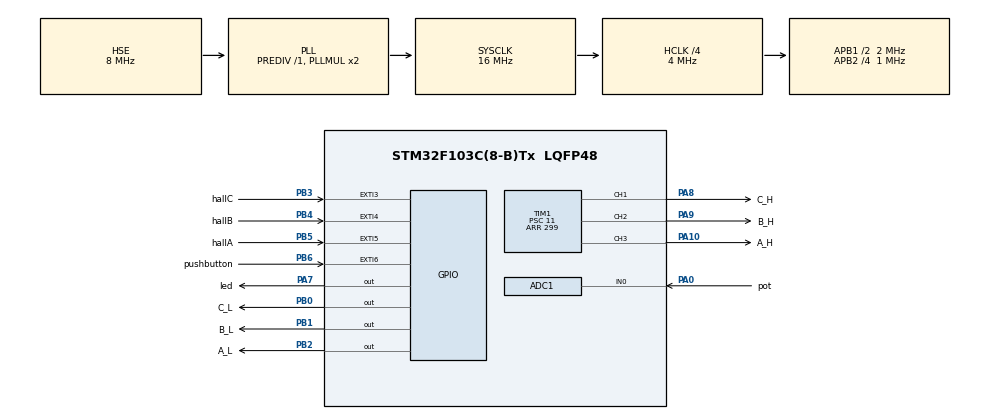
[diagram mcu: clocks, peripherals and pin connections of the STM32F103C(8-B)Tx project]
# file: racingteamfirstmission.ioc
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ADC1.Channel-10\#ChannelRegularConversion=ADC_CHANNEL_0
ADC1.ContinuousConvMode=ENABLE
ADC1.NbrOfConversionFlag=1
ADC1.Rank-10\#ChannelRegularConversion=1
ADC1.SamplingTime-10\#ChannelRegularConversion=ADC_SAMPLETIME_1CYCLE_5
ADC1.master=1
Mcu.Family=STM32F1
Mcu.Name=STM32F103C(8-B)Tx
Mcu.Package=LQFP48
NVIC.EXTI3_IRQn=true\:0\:0\:false\:false\:true\:true\:true\:true
NVIC.EXTI4_IRQn=true\:0\:0\:false\:false\:true\:true\:true\:true
NVIC.EXTI9_5_IRQn=true\:0\:0\:false\:false\:true\:true\:true\:true
NVIC.PriorityGroup=NVIC_PRIORITYGROUP_4
PA0-WKUP.GPIO_Label=pot
PA0-WKUP.Signal=ADCx_IN0
PA10.GPIO_Label=A_H
PA10.Signal=S_TIM1_CH3
PA13.Mode=Serial_Wire
PA13.Signal=SYS_JTMS-SWDIO
PA14.Mode=Serial_Wire
PA14.Signal=SYS_JTCK-SWCLK
PA7.GPIO_Label=led
PA7.Signal=GPIO_Output
PA8.GPIO_Label=C_H
PA8.Signal=S_TIM1_CH1
PA9.GPIO_Label=B_H
PA9.Signal=S_TIM1_CH2
PB0.GPIO_Label=C_L
PB0.GPIO_PuPd=GPIO_PULLDOWN
PB0.Signal=GPIO_Output
PB1.GPIO_Label=B_L
PB1.GPIO_PuPd=GPIO_PULLDOWN
PB1.Signal=GPIO_Output
PB2.GPIO_Label=A_L
PB2.GPIO_PuPd=GPIO_PULLDOWN
PB2.Signal=GPIO_Output
PB3.GPIO_Label=hallC
PB3.GPIO_PuPd=GPIO_PULLDOWN
PB3.Signal=GPXTI3
PB4.GPIO_Label=hallB
PB4.GPIO_PuPd=GPIO_PULLDOWN
PB4.Signal=GPXTI4
PB5.GPIO_Label=hallA
PB5.GPIO_PuPd=GPIO_PULLDOWN
PB5.Signal=GPXTI5
PB6.GPIO_Label=pushbutton
PB6.GPIO_PuPd=GPIO_PULLUP
PB6.Signal=GPXTI6
PD0-OSC_IN.Mode=HSE-External-Oscillator
PD0-OSC_IN.Signal=RCC_OSC_IN
PD1-OSC_OUT.Mode=HSE-External-Oscillator
PD1-OSC_OUT.Signal=RCC_OSC_OUT
ProjectManager.HeapSize=0x200
ProjectManager.StackSize=0x400
ProjectManager.TargetToolchain=STM32CubeIDE
RCC.AHBCLKDivider=RCC_SYSCLK_DIV4
RCC.AHBFreq_Value=4000000
RCC.APB1CLKDivider=RCC_HCLK_DIV2
RCC.APB1Freq_Value=2000000
RCC.APB1TimFreq_Value=4000000
RCC.APB2CLKDivider=RCC_HCLK_DIV4
RCC.APB2Freq_Value=1000000
RCC.APB2TimFreq_Value=2000000
RCC.HCLKFreq_Value=4000000
RCC.PLLSourceVirtual=RCC_PLLSOURCE_HSE
RCC.SYSCLKFreq_VALUE=16000000
RCC.SYSCLKSource=RCC_SYSCLKSOURCE_PLLCLK
RCC.USBFreq_Value=16000000
SH.ADCx_IN0.0=ADC1_IN0,IN0
SH.S_TIM1_CH1.0=TIM1_CH1,PWM Generation1 CH1
SH.S_TIM1_CH2.0=TIM1_CH2,PWM Generation2 CH2
SH.S_TIM1_CH3.0=TIM1_CH3,PWM Generation3 CH3
TIM1.Channel-PWM\ Generation1\ CH1=TIM_CHANNEL_1
TIM1.Channel-PWM\ Generation2\ CH2=TIM_CHANNEL_2
TIM1.Channel-PWM\ Generation3\ CH3=TIM_CHANNEL_3
TIM1.Period=299
TIM1.Prescaler=11
board=custom

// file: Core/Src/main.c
/* USER CODE BEGIN Header */
/**
  ******************************************************************************
  * @file           : main.c
  * @brief          : Main program body
  ******************************************************************************
  * @attention
  *
  * Copyright (c) 2024 STMicroelectronics.
  * All rights reserved.
  *
  * This software is licensed under terms that can be found in the LICENSE file
  * in the root directory of this software component.
  * If no LICENSE file comes with this software, it is provided AS-IS.
  *
  ******************************************************************************
  */
/* USER CODE END Header */
#include "main.h"

/* USER CODE BEGIN Includes */
#include <stdbool.h>
#include "bldc.h"

/* USER CODE END Includes */

 ADC_HandleTypeDef hadc1;

 TIM_HandleTypeDef htim1;

void SystemClock_Config(void);
static void MX_GPIO_Init(void);
static void MX_ADC1_Init(void);
static void MX_TIM1_Init(void);

/* USER CODE BEGIN 0 */

// Global Variables
int pwm_value;                        // Current PWM value
int pmw_low = 0;                      // Low PWM value for motor control
bool HALL_C = false;                  // State of Hall sensor C
bool HALL_B = false;                  // State of Hall sensor B
bool HALL_A = false;                  // State of Hall sensor A
uint32_t step = STEP_1;               // Current step for motor control
bool MODE = false;                    // Operating mode indicator
int rpm = 0;                          // Current RPM of the motor
bool rpm_ok = false;                  // RPM status flag
uint32_t adc_value;                   // ADC reading
uint32_t max_adc_value = MAX_ADC_VALUE; // Max value for a 12-bit ADC
uint32_t arr_value = PWM_MAX_VALUE - 1; // AutoReload Register (ARR) value for PWM
uint32_t duty_cycle_percentage;       // Duty cycle percentage for PWM control

// Interrupt Callback Function for External Interrupts
void HAL_GPIO_EXTI_Callback(uint16_t GPIO_Pin) {
	// Read Hall sensor states
	HALL_A = HAL_GPIO_ReadPin(hallA_GPIO_Port, hallA_Pin);
	HALL_B = HAL_GPIO_ReadPin(hallB_GPIO_Port, hallB_Pin);
	HALL_C = HAL_GPIO_ReadPin(hallC_GPIO_Port, hallC_Pin);

    /* Motor control based on Hall sensor inputs */
    control_bldc();

    // Check if the interrupt was triggered by the push button
	if(GPIO_Pin == pushbutton_Pin) // If The INT Source Is EXTI Line9 (B6 Pin)
	{
		  HAL_GPIO_TogglePin(GPIOA, led_Pin); // Toggle The Output (led) Pin
	}
}

/* USER CODE END 0 */

int main(void)
{

  /* MCU Configuration--------------------------------------------------------*/

  /* Reset of all peripherals, Initializes the Flash interface and the Systick. */
  HAL_Init();

  /* Configure the system clock */
  SystemClock_Config();

  /* Initialize all configured peripherals */
  MX_GPIO_Init();
  MX_ADC1_Init();
  MX_TIM1_Init();
  /* USER CODE BEGIN 2 */

  /* Start PWM  */
  HAL_TIM_PWM_Start(&htim1, TIM_CHANNEL_1);
  HAL_TIM_PWM_Start(&htim1, TIM_CHANNEL_2);
  HAL_TIM_PWM_Start(&htim1, TIM_CHANNEL_3);

  /* USER CODE END 2 */

  /* Infinite loop */
  while (1)
  {

    /* USER CODE BEGIN 3 */
	  adjust_pwm_with_pot();  // Adjust PWM based on potentiometer

  }
  /* USER CODE END 3 */
}

void SystemClock_Config(void)
{
  RCC_OscInitTypeDef RCC_OscInitStruct = {0};
  RCC_ClkInitTypeDef RCC_ClkInitStruct = {0};
  RCC_PeriphCLKInitTypeDef PeriphClkInit = {0};

  /** Initializes the RCC Oscillators according to the specified parameters
  * in the RCC_OscInitTypeDef structure.
  */
  RCC_OscInitStruct.OscillatorType = RCC_OSCILLATORTYPE_HSE;
  RCC_OscInitStruct.HSEState = RCC_HSE_ON;
  RCC_OscInitStruct.HSEPredivValue = RCC_HSE_PREDIV_DIV1;
  RCC_OscInitStruct.HSIState = RCC_HSI_ON;
  RCC_OscInitStruct.PLL.PLLState = RCC_PLL_ON;
  RCC_OscInitStruct.PLL.PLLSource = RCC_PLLSOURCE_HSE;
  RCC_OscInitStruct.PLL.PLLMUL = RCC_PLL_MUL2;
  if (HAL_RCC_OscConfig(&RCC_OscInitStruct) != HAL_OK)
  {
    Error_Handler();
  }

  /** Initializes the CPU, AHB and APB buses clocks
  */
  RCC_ClkInitStruct.ClockType = RCC_CLOCKTYPE_HCLK|RCC_CLOCKTYPE_SYSCLK
                              |RCC_CLOCKTYPE_PCLK1|RCC_CLOCKTYPE_PCLK2;
  RCC_ClkInitStruct.SYSCLKSource = RCC_SYSCLKSOURCE_PLLCLK;
  RCC_ClkInitStruct.AHBCLKDivider = RCC_SYSCLK_DIV4;
  RCC_ClkInitStruct.APB1CLKDivider = RCC_HCLK_DIV2;
  RCC_ClkInitStruct.APB2CLKDivider = RCC_HCLK_DIV4;

  if (HAL_RCC_ClockConfig(&RCC_ClkInitStruct, FLASH_LATENCY_0) != HAL_OK)
  {
    Error_Handler();
  }
  PeriphClkInit.PeriphClockSelection = RCC_PERIPHCLK_ADC;
  PeriphClkInit.AdcClockSelection = RCC_ADCPCLK2_DIV2;
  if (HAL_RCCEx_PeriphCLKConfig(&PeriphClkInit) != HAL_OK)
  {
    Error_Handler();
  }
}

static void MX_ADC1_Init(void)
{

  ADC_ChannelConfTypeDef sConfig = {0};

  /** Common config
  */
  hadc1.Instance = ADC1;
  hadc1.Init.ScanConvMode = ADC_SCAN_DISABLE;
  hadc1.Init.ContinuousConvMode = ENABLE;
  hadc1.Init.DiscontinuousConvMode = DISABLE;
  hadc1.Init.ExternalTrigConv = ADC_SOFTWARE_START;
  hadc1.Init.DataAlign = ADC_DATAALIGN_RIGHT;
  hadc1.Init.NbrOfConversion = 1;
  if (HAL_ADC_Init(&hadc1) != HAL_OK)
  {
    Error_Handler();
  }

  /** Configure Regular Channel
  */
  sConfig.Channel = ADC_CHANNEL_0;
  sConfig.Rank = ADC_REGULAR_RANK_1;
  sConfig.SamplingTime = ADC_SAMPLETIME_1CYCLE_5;
  if (HAL_ADC_ConfigChannel(&hadc1, &sConfig) != HAL_OK)
  {
    Error_Handler();
  }

}

static void MX_TIM1_Init(void)
{

  TIM_MasterConfigTypeDef sMasterConfig = {0};
  TIM_OC_InitTypeDef sConfigOC = {0};
  TIM_BreakDeadTimeConfigTypeDef sBreakDeadTimeConfig = {0};

  htim1.Instance = TIM1;
  htim1.Init.Prescaler = 11;
  htim1.Init.CounterMode = TIM_COUNTERMODE_UP;
  htim1.Init.Period = 299;
  htim1.Init.ClockDivision = TIM_CLOCKDIVISION_DIV1;
  htim1.Init.RepetitionCounter = 0;
  htim1.Init.AutoReloadPreload = TIM_AUTORELOAD_PRELOAD_DISABLE;
  if (HAL_TIM_PWM_Init(&htim1) != HAL_OK)
  {
    Error_Handler();
  }
  sMasterConfig.MasterOutputTrigger = TIM_TRGO_RESET;
  sMasterConfig.MasterSlaveMode = TIM_MASTERSLAVEMODE_DISABLE;
  if (HAL_TIMEx_MasterConfigSynchronization(&htim1, &sMasterConfig) != HAL_OK)
  {
    Error_Handler();
  }
  sConfigOC.OCMode = TIM_OCMODE_PWM1;
  sConfigOC.Pulse = 0;
  sConfigOC.OCPolarity = TIM_OCPOLARITY_HIGH;
  sConfigOC.OCNPolarity = TIM_OCNPOLARITY_HIGH;
  sConfigOC.OCFastMode = TIM_OCFAST_DISABLE;
  sConfigOC.OCIdleState = TIM_OCIDLESTATE_RESET;
  sConfigOC.OCNIdleState = TIM_OCNIDLESTATE_RESET;
  if (HAL_TIM_PWM_ConfigChannel(&htim1, &sConfigOC, TIM_CHANNEL_1) != HAL_OK)
  {
    Error_Handler();
  }
  if (HAL_TIM_PWM_ConfigChannel(&htim1, &sConfigOC, TIM_CHANNEL_2) != HAL_OK)
  {
    Error_Handler();
  }
  if (HAL_TIM_PWM_ConfigChannel(&htim1, &sConfigOC, TIM_CHANNEL_3) != HAL_OK)
  {
    Error_Handler();
  }
  sBreakDeadTimeConfig.OffStateRunMode = TIM_OSSR_DISABLE;
  sBreakDeadTimeConfig.OffStateIDLEMode = TIM_OSSI_DISABLE;
  sBreakDeadTimeConfig.LockLevel = TIM_LOCKLEVEL_OFF;
  sBreakDeadTimeConfig.DeadTime = 0;
  sBreakDeadTimeConfig.BreakState = TIM_BREAK_DISABLE;
  sBreakDeadTimeConfig.BreakPolarity = TIM_BREAKPOLARITY_HIGH;
  sBreakDeadTimeConfig.AutomaticOutput = TIM_AUTOMATICOUTPUT_DISABLE;
  if (HAL_TIMEx_ConfigBreakDeadTime(&htim1, &sBreakDeadTimeConfig) != HAL_OK)
  {
    Error_Handler();
  }
  HAL_TIM_MspPostInit(&htim1);

}

static void MX_GPIO_Init(void)
{
  GPIO_InitTypeDef GPIO_InitStruct = {0};

  /* GPIO Ports Clock Enable */
  __HAL_RCC_GPIOD_CLK_ENABLE();
  __HAL_RCC_GPIOA_CLK_ENABLE();
  __HAL_RCC_GPIOB_CLK_ENABLE();

  /*Configure GPIO pin Output Level */
  HAL_GPIO_WritePin(led_GPIO_Port, led_Pin, GPIO_PIN_RESET);

  /*Configure GPIO pin Output Level */
  HAL_GPIO_WritePin(GPIOB, C_L_Pin|B_L_Pin|A_L_Pin, GPIO_PIN_RESET);

  /*Configure GPIO pin : led_Pin */
  GPIO_InitStruct.Pin = led_Pin;
  GPIO_InitStruct.Mode = GPIO_MODE_OUTPUT_PP;
  GPIO_InitStruct.Pull = GPIO_NOPULL;
  GPIO_InitStruct.Speed = GPIO_SPEED_FREQ_LOW;
  HAL_GPIO_Init(led_GPIO_Port, &GPIO_InitStruct);

  /*Configure GPIO pins : C_L_Pin B_L_Pin A_L_Pin */
  GPIO_InitStruct.Pin = C_L_Pin|B_L_Pin|A_L_Pin;
  GPIO_InitStruct.Mode = GPIO_MODE_OUTPUT_PP;
  GPIO_InitStruct.Pull = GPIO_PULLDOWN;
  GPIO_InitStruct.Speed = GPIO_SPEED_FREQ_LOW;
  HAL_GPIO_Init(GPIOB, &GPIO_InitStruct);

  /*Configure GPIO pins : hallC_Pin hallB_Pin hallA_Pin */
  GPIO_InitStruct.Pin = hallC_Pin|hallB_Pin|hallA_Pin;
  GPIO_InitStruct.Mode = GPIO_MODE_IT_RISING;
  GPIO_InitStruct.Pull = GPIO_PULLDOWN;
  HAL_GPIO_Init(GPIOB, &GPIO_InitStruct);

  /*Configure GPIO pin : pushbutton_Pin */
  GPIO_InitStruct.Pin = pushbutton_Pin;
  GPIO_InitStruct.Mode = GPIO_MODE_IT_RISING;
  GPIO_InitStruct.Pull = GPIO_PULLUP;
  HAL_GPIO_Init(pushbutton_GPIO_Port, &GPIO_InitStruct);

  /* EXTI interrupt init*/
  HAL_NVIC_SetPriority(EXTI3_IRQn, 0, 0);
  HAL_NVIC_EnableIRQ(EXTI3_IRQn);

  HAL_NVIC_SetPriority(EXTI4_IRQn, 0, 0);
  HAL_NVIC_EnableIRQ(EXTI4_IRQn);

  HAL_NVIC_SetPriority(EXTI9_5_IRQn, 0, 0);
  HAL_NVIC_EnableIRQ(EXTI9_5_IRQn);

}

void Error_Handler(void)
{
  __disable_irq();
  while (1)
  {
  }
}
